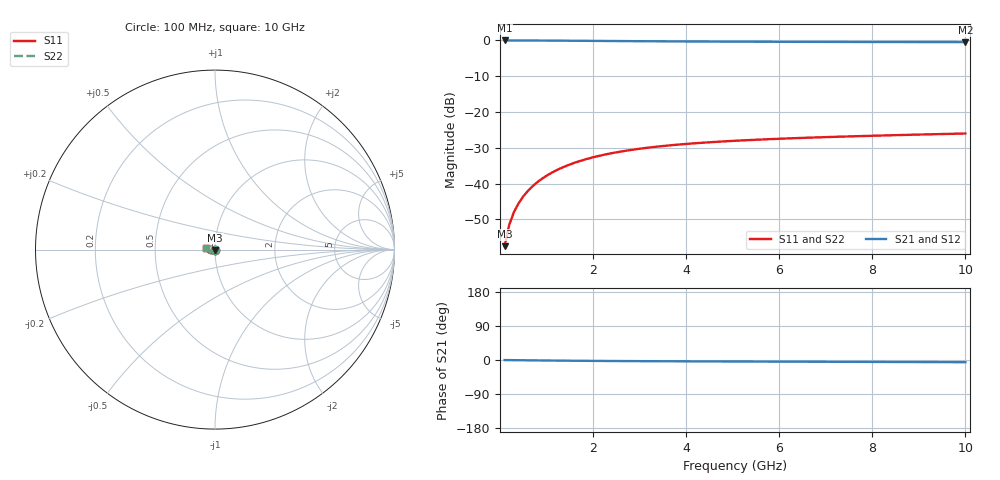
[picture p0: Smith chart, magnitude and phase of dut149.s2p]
! Touchstone file exported from HFSS 2024.1.0
!  File:  C:/UserFiles/LocalFiles/RDL_TSV_Batchsim/temp_TSV1_149_1778754882.aedt
!  Generated:  06:40:09 PM May 14, 2026
!  Design:  TSV1
!  Project:  temp_TSV1_149_1778754882
!  Setup:  Setup1
!  Solution:  Sweep
! Variables:
!  dtsv = 10.17um
!  hbump = 3um
!  htsv = 89.94um
!  lrdl = 252.1521522um
!  p = 40
!  p1 = 55.65um
!  t = 500um
!  trdl = 3um
!  wrdl = 24.89489489um
# GHz S MA R 50.000000
! Terminal data exported
! Port[1] = TSV22_T1
! Port[2] = TSV22_T2
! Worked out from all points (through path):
!   100 points, 100 MHz to 10 GHz, reference 50 ohm
!   highest |S21| = 0.00 dB at 100 MHz (marker M1); lowest = -0.5 dB at 10 GHz (marker M2)
!   lowest |S11| = -57.5 dB at 100 MHz (marker M3), VSWR 1.00, Z = 50 - j0.133 ohm
!   |S11| at or under -10 dB: start of sweep to end of sweep
!   |S22| runs from -57.5 to -26.0 dB; largest |S21 - S12| = 3.2e-15
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0.1  0.001337 -85.5  0.9998 -0.1  0.9998 -0.1  0.001337 -85.5
! Gamma 0 0 0 0
! Port Impedance 50 0 50 0
0.2  0.002661 -90.6  0.9996 -0.3  0.9996 -0.3  0.002661 -90.6
0.3  0.003986 -93.5  0.9994 -0.4  0.9994 -0.4  0.003986 -93.5
0.4  0.005305 -96.0  0.9991 -0.6  0.9991 -0.6  0.005305 -96.0
0.5  0.006614 -98.3  0.9987 -0.7  0.9987 -0.7  0.006614 -98.3
0.6  0.007909 -100.4  0.9982 -0.8  0.9982 -0.8  0.007909 -100.4
0.7  0.009186 -102.5  0.9976 -1.0  0.9976 -1.0  0.009186 -102.5
0.8  0.01044 -104.6  0.9969 -1.1  0.9969 -1.1  0.01044 -104.6
0.9  0.01167 -106.5  0.9962 -1.2  0.9962 -1.2  0.01167 -106.5
1.1  0.01406 -110.4  0.9947 -1.5  0.9947 -1.5  0.01406 -110.4
1.4  0.01742 -115.9  0.992 -1.8  0.992 -1.8  0.01742 -115.9
1.6  0.01951 -119.4  0.9901 -2.0  0.9901 -2.0  0.01951 -119.4
1.8  0.02147 -122.7  0.9881 -2.2  0.9881 -2.2  0.02147 -122.7
2.1  0.02417 -127.5  0.985 -2.4  0.985 -2.4  0.02417 -127.5
2.5  0.02734 -133.3  0.981 -2.7  0.981 -2.7  0.02734 -133.3
2.9  0.03007 -138.7  0.9771 -3.0  0.9771 -3.0  0.03007 -138.7
3.4  0.03297 -144.8  0.9728 -3.3  0.9728 -3.3  0.03296 -144.8
4.2  0.03665 -153.2  0.9669 -3.6  0.9669 -3.6  0.03665 -153.2
5.1  0.03981 -161.2  0.9617 -4.0  0.9617 -4.0  0.03981 -161.2
6.7  0.04397 -172.8  0.9552 -4.6  0.9552 -4.6  0.04397 -172.9
8.4  0.04735 177.2  0.9507 -5.2  0.9507 -5.2  0.04735 177.2
10  0.05013 169.4  0.9479 -5.8  0.9479 -5.8  0.05013 169.4
